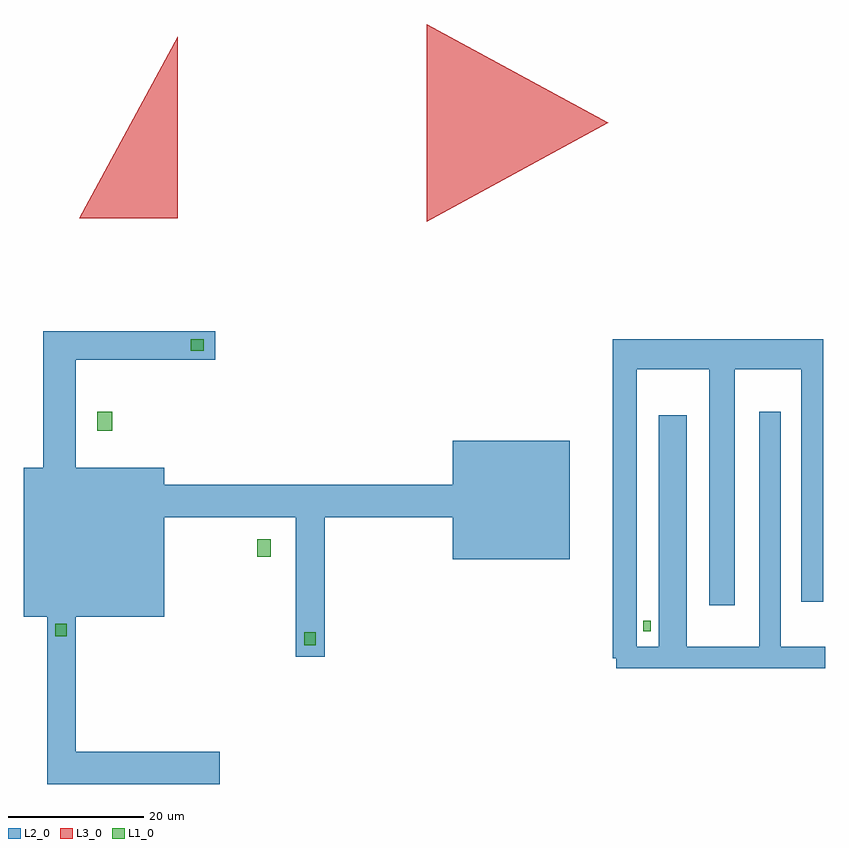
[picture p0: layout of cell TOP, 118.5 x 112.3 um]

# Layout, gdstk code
from math import pi, radians
import gdstk
lib = gdstk.Library(unit=1e-6, precision=1e-09)
def R(c, l, rs):  # rectangles x0, y0, x1, y1
    for r in rs: c.add(gdstk.rectangle(r[:2], r[2:], *l))
def P(c, l, *ps):  # polygons
    for p in ps: c.add(gdstk.Polygon(p, *l))
L1_0 = (1, 0)
L2_0 = (2, 0)
L3_0 = (3, 0)

c_a = lib.new_cell('A')
R(c_a, L1_0, [(-8.4,14.6,-6.7,16.5)])
P(c_a, L2_0, [(-9.6,-7.2),(-9.6,18.2),(-5.4,18.2),(-5.4,-2.4),(15.9,-2.4),(15.9,-7.2)])

c_b = lib.new_cell('B')
R(c_b, L1_0, [(0,0,2.2,2.8)])

c_d = lib.new_cell('D')
P(c_d, L3_0, [(0,0),(14.6,26.8),(14.6,0)])

top = lib.new_cell('TOP')
R(top, L1_0, [(59.7,-8.4,60.8,-6.9), (2.6,2.6,4.6,5.2)])
R(top, L2_0, [(55.7,-13.9,86.6,-10.7), (55.2,-12.4,58.7,32), (62,-11.4,66.1,23.5), (76.8,-10.7,80,24), (-31.9,-6.3,-11.1,15.7), (69.4,-4.6,73.2,31.7), (83,-4.1,86.3,32), (31.5,2.2,48.8,19.7), (55.2,30.3,86.3,34.7)])
P(top, L2_0, [(8.3,-12.2),(8.3,8.4),(-13,8.4),(-13,13.2),(12.5,13.2),(12.5,-12.2)])
r = gdstk.Reference(c_a, (2.9,6), rotation=pi); r.repetition = gdstk.Repetition(1, 1, v1=(0,0), v2=(0,0)); top.add(r)
r = gdstk.Reference(c_a, (-21.8,26.3), rotation=3*pi/2); r.repetition = gdstk.Repetition(1, 1, v1=(0,0), v2=(0,0)); top.add(r)
r = gdstk.Reference(c_a, (-18.8,-23.8)); r.repetition = gdstk.Repetition(1, 1, v1=(0,0), v2=(0,0)); top.add(r)
r = gdstk.Reference(c_a, (18,6), x_reflection=True); r.repetition = gdstk.Repetition(1, 1, v1=(0,0), v2=(0,0)); top.add(r)
top.add(gdstk.Reference(c_b, (-21,21.2)))
top.add(gdstk.Reference(c_d, (-23.7,52.6)))
r = gdstk.Reference(c_d, (27.7,81.3), rotation=3*pi/2); r.repetition = gdstk.Repetition(1, 1, v1=(0,0), v2=(0,0)); top.add(r)
r = gdstk.Reference(c_d, (27.7,52.1), rotation=pi/2, x_reflection=True); r.repetition = gdstk.Repetition(1, 1, v1=(0,0), v2=(0,0)); top.add(r)

lib.write_gds('TOP.gds')
